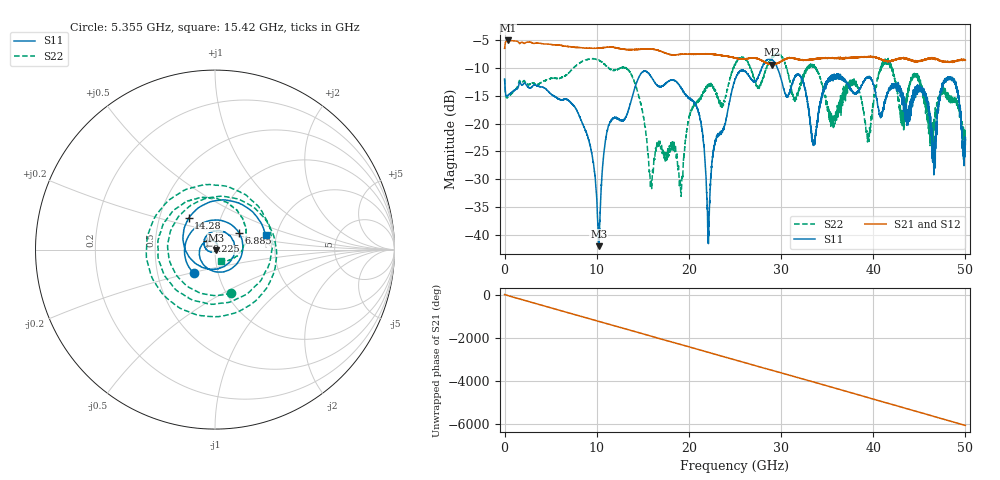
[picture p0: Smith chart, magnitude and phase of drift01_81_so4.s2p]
!Created with skrf (http://scikit-rf.org).
# Hz S RI R 50.0
!freq ReS11 ImS11 ReS21 ImS21 ReS12 ImS12 ReS22 ImS22
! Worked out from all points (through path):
!   10001 points, 300 kHz to 50 GHz, reference 50 ohm
!   highest |S21| = -5.05 dB at 360.3 MHz (marker M1); lowest = -9.4 dB at 28.98 GHz (marker M2)
!   group delay of S21, straight-line fit = 336 ps
!   lowest |S11| = -42.0 dB at 10.21 GHz (marker M3), VSWR 1.02, Z = 50.6 - j0.484 ohm
!   |S11| at or under -10 dB: start of sweep to 27.9 GHz; 29.59432 GHz to 29.59694 GHz (2.62 MHz wide, 0.00885 % of centre); 29.6 GHz to end of sweep
!   |S22| runs from -33.1 to -7.5 dB; largest |S21 - S12| = 0.013
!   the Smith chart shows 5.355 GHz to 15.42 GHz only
!   S11 on the Smith chart (normalised r, x): 5.355 GHz: 0.76, -0.21; 6.885 GHz: 1.28, +0.24; 9.225 GHz: 0.91, +0.09; 14.28 GHz: 0.70, +0.26; 15.42 GHz: 1.76, +0.30
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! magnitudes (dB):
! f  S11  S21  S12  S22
! 300 kHz  -12.0  -6.5  -6.6  -11.9
! 360.3 MHz  -14.9  -5.0  -5.1  -15.2
! 5.355 GHz  -15.0  -5.8  -5.8  -11.8
! 6.885 GHz  -15.8  -6.1  -6.1  -11.0
! 8.335 GHz  -19.5  -6.3  -6.4  -8.9
! 9.225 GHz  -23.7  -6.4  -6.4  -8.4
! 10.21 GHz  -42.0  -6.4  -6.4  -8.6
! 11.24 GHz  -20.5  -6.2  -6.2  -10.0
! 14.28 GHz  -12.8  -6.7  -6.7  -13.4
! 15.42 GHz  -10.6  -6.6  -6.6  -22.7
! 16.67 GHz  -13.3  -6.8  -6.8  -23.3
! 19.15 GHz  -13.5  -7.5  -7.5  -33.0
! 20.86 GHz  -17.1  -7.5  -7.5  -16.1
! 22.12 GHz  -41.6  -7.5  -7.4  -13.4
! 25 GHz  -12.1  -8.2  -8.2  -9.3
! 28.98 GHz  -8.4  -9.4  -9.4  -8.2
! 33.34 GHz  -22.3  -8.5  -8.4  -9.7
! 39.46 GHz  -11.5  -7.9  -8.0  -21.8
! 41.67 GHz  -13.8  -8.7  -8.7  -9.0
! 46.56 GHz  -26.5  -8.3  -8.2  -20.5
! 48.56 GHz  -12.1  -8.8  -8.8  -15.9
! 50 GHz  -23.7  -8.6  -8.6  -23.0
